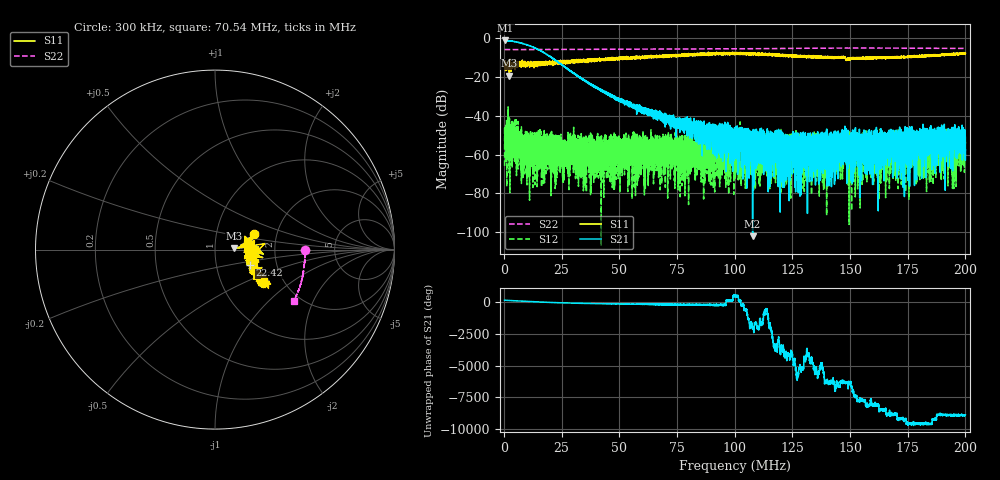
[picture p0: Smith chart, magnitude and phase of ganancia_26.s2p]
# Hz S DB R 50
! CMT, M5065, 19127446, 24.2.4/2
! Date: 11/8/2024 6:37:46 PM
! Data: Format (Calibration Info)
! Freq	S11:dB/Ang(F2)	S21:dB/Ang(F2)	S12:dB/Ang(F2)	S22:dB/Ang(F2)
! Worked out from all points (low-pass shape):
!   9000 points, 300 kHz to 200 MHz, reference 50 ohm
!   highest |S21| = -1.29 dB at 566.3 kHz (marker M1); lowest = -102.1 dB at 107.8 MHz (marker M2)
!   |S21| within 3 dB of the highest: start of sweep to 11.64 MHz; 11.67517 MHz to 11.71337 MHz (38.2 kHz wide, 0.327 % of centre)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
!   lowest |S11| = -19.4 dB at 2.386 MHz (marker M3), VSWR 1.24, Z = 62 + j0.898 ohm
!   |S11| at or under -10 dB: start of sweep to 46.72 MHz; 47.21 MHz to 49.03 MHz (1.818 MHz wide, 3.78 % of centre); 147.9 MHz to 154.7 MHz (6.81 MHz wide, 4.5 % of centre)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
!   |S22| runs from -6.0 to -5.2 dB; largest |S21 - S12| = 0.86
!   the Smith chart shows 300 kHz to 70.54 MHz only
!   S11 on the Smith chart (normalised r, x): 300 kHz: 1.53, +0.29; 22.42 MHz: 1.46, -0.26; 70.54 MHz: 1.50, -0.66
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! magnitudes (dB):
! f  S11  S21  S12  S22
! 300 kHz  -12.5  -1.3  -65.8  -6.0
! 566.3 kHz  -11.7  -1.3  -52.6  -6.0
! 1.321 MHz  -13.6  -1.4  -52.6  -6.0
! 2.386 MHz  -19.4  -1.6  -53.2  -6.0
! 10.51 MHz  -13.3  -3.8  -59.0  -6.0
! 22.42 MHz  -13.4  -11.5  -56.4  -5.9
! 33.59 MHz  -12.0  -20.9  -52.5  -5.9
! 66.87 MHz  -9.7  -40.7  -55.3  -5.7
! 70.54 MHz  -9.9  -41.0  -53.9  -5.6
! 100.2 MHz  -8.6  -47.1  -53.3  -5.6
! 107.8 MHz  -8.0  -102.1  -57.4  -5.5
! 120.7 MHz  -9.2  -53.5  -52.9  -5.4
! 126.8 MHz  -9.4  -51.4  -56.8  -5.4
! 133.4 MHz  -9.9  -57.5  -54.6  -5.3
! 139.4 MHz  -9.7  -52.7  -72.0  -5.3
! 144.2 MHz  -10.3  -50.2  -50.6  -5.2
! 148.1 MHz  -10.8  -46.6  -50.1  -5.2
! 150.3 MHz  -10.5  -60.5  -67.0  -5.2
! 152.2 MHz  -10.4  -52.4  -58.5  -5.2
! 166.7 MHz  -10.2  -53.0  -54.2  -5.2
! 198.6 MHz  -7.9  -49.6  -56.8  -5.4
! 200 MHz  -7.8  -57.5  -53.8  -5.4
